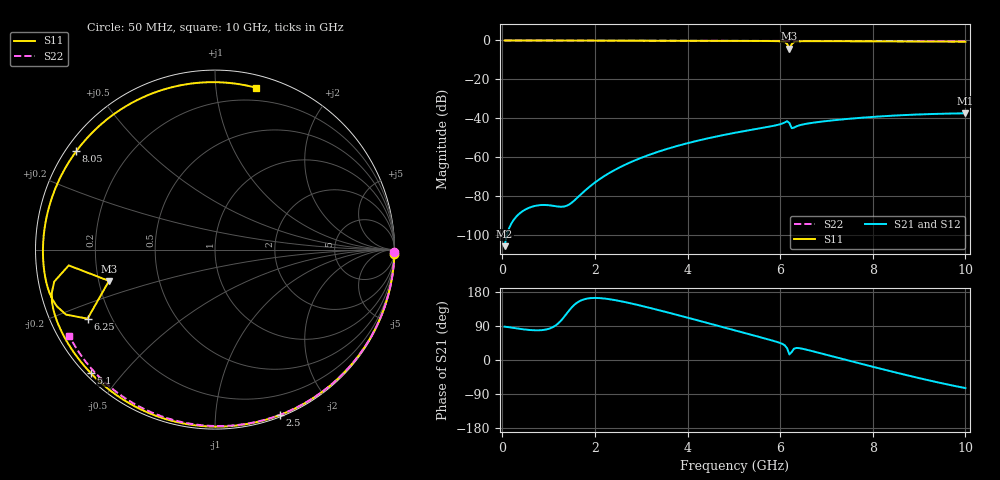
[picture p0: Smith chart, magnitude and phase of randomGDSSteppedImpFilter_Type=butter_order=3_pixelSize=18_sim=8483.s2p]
! freq	dB(S11)	phase(S11)	dB(S12)	phase(S12)
!  dB(S21)	phase(S21)	dB(S22)	phase(S22)
!S-par simulation data
#  GHz  S  DB  R 50
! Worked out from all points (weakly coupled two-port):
!   200 points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, 50 MHz to 10 GHz, reference 50 ohm
!   highest |S21| = -37.46 dB at 10 GHz (marker M1); lowest = -105.8 dB at 50 MHz (marker M2)
!   lowest |S11| = -4.2 dB at 6.2 GHz (marker M3), VSWR 4.21, Z = 12.1 - j6.82 ohm
!   |S11| at or under -10 dB: nowhere
!   |S22| runs from -0.5 to 0.0 dB; largest |S21 - S12| = 0
!   S11 on the Smith chart (normalised r, x): 50 MHz: 0, -82; 2.5 GHz: 0.02, -1.47; 5.1 GHz: 0.01, -0.41; 6.25 GHz: 0.11, -0.25; 8.05 GHz: 0.03, +0.32; 10 GHz: 0.10, +1.28
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0.05  -0.00 -1.4  -105.77 87.9  -105.77 87.9  -0.00 -0.9
0.8  -0.03 -22.4  -84.70 78.4  -84.70 78.4  -0.02 -13.7
1.65  -0.06 -45.8  -80.21 154.1  -80.21 154.1  -0.04 -28.0
1.75  -0.06 -48.5  -78.00 159.5  -78.00 159.5  -0.04 -29.7
2.1  -0.07 -57.9  -71.34 163.4  -71.34 163.4  -0.05 -35.5
2.5  -0.09 -68.5  -65.68 156.5  -65.68 156.5  -0.05 -42.0
3.4  -0.12 -91.8  -56.96 130.9  -56.96 130.9  -0.07 -56.4
4.2  -0.16 -112.2  -51.64 105.2  -51.64 105.2  -0.10 -68.8
5.05  -0.21 -133.9  -47.36 77.3  -47.36 77.3  -0.13 -81.5
5.1  -0.21 -135.2  -47.14 75.7  -47.14 75.7  -0.13 -82.2
5.75  -0.28 -153.1  -44.38 54.1  -44.38 54.1  -0.15 -91.6
6.05  -0.52 -165.0  -42.68 42.3  -42.68 42.3  -0.17 -95.9
6.15  -1.73 -173.8  -41.52 30.9  -41.52 30.9  -0.17 -97.3
6.2  -4.21 -163.5  -42.43 14.7  -42.43 14.7  -0.18 -98.0
6.25  -1.85 -151.5  -45.13 21.1  -45.13 21.1  -0.18 -98.7
6.35  -0.58 -160.2  -44.18 31.8  -44.18 31.8  -0.18 -100.1
6.7  -0.36 -174.0  -42.33 23.2  -42.33 23.2  -0.20 -104.9
7.35  -0.40 166.4  -40.57 2.6  -40.57 2.6  -0.25 -113.8
8.05  -0.47 144.7  -39.23 -19.4  -39.23 -19.4  -0.30 -123.3
8.35  -0.50 135.0  -38.77 -28.6  -38.77 -28.6  -0.33 -127.3
9.2  -0.57 105.6  -37.87 -53.4  -37.87 -53.4  -0.41 -138.7
10  -0.63 75.8  -37.46 -74.1  -37.46 -74.1  -0.51 -149.5
